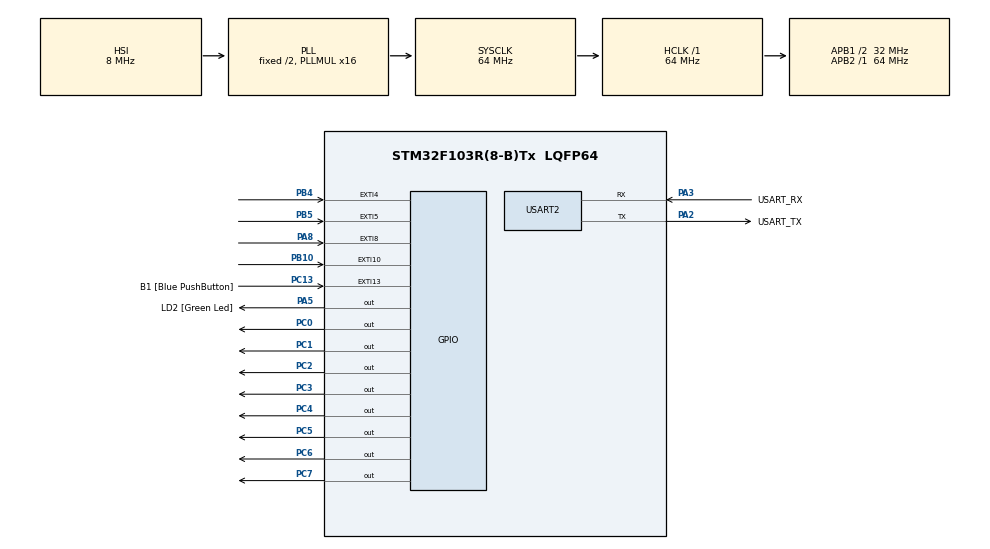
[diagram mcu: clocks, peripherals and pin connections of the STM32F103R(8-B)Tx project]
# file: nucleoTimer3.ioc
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Mcu.Family=STM32F1
Mcu.Name=STM32F103R(8-B)Tx
Mcu.Package=LQFP64
NVIC.EXTI15_10_IRQn=true\:0\:0\:false\:false\:true\:true\:true\:true
NVIC.EXTI4_IRQn=true\:0\:0\:false\:false\:true\:true\:true\:true
NVIC.EXTI9_5_IRQn=true\:0\:0\:false\:false\:true\:true\:true\:true
NVIC.PriorityGroup=NVIC_PRIORITYGROUP_4
NVIC.TIM2_IRQn=true\:0\:0\:false\:false\:true\:true\:true\:true
PA13.GPIO_Label=TMS
PA13.Mode=Serial_Wire
PA13.Signal=SYS_JTMS-SWDIO
PA14.GPIO_Label=TCK
PA14.Mode=Serial_Wire
PA14.Signal=SYS_JTCK-SWCLK
PA2.GPIO_Label=USART_TX
PA2.GPIO_Mode=GPIO_MODE_AF_PP
PA2.GPIO_PuPd=GPIO_NOPULL
PA2.GPIO_Speed=GPIO_SPEED_FREQ_LOW
PA2.Mode=Asynchronous
PA2.Signal=USART2_TX
PA3.GPIO_Label=USART_RX
PA3.GPIO_Mode=GPIO_MODE_AF_PP
PA3.GPIO_PuPd=GPIO_NOPULL
PA3.GPIO_Speed=GPIO_SPEED_FREQ_LOW
PA3.Mode=Asynchronous
PA3.Signal=USART2_RX
PA5.GPIO_Label=LD2 [Green Led]
PA5.GPIO_ModeDefaultOutputPP=GPIO_MODE_OUTPUT_PP
PA5.GPIO_PuPd=GPIO_NOPULL
PA5.GPIO_Speed=GPIO_SPEED_FREQ_LOW
PA5.Signal=GPIO_Output
PA8.Signal=GPXTI8
PB10.Signal=GPXTI10
PB3.GPIO_Label=SWO
PB3.Signal=SYS_JTDO-TRACESWO
PB4.Signal=GPXTI4
PB5.Signal=GPXTI5
PC0.Signal=GPIO_Output
PC1.Signal=GPIO_Output
PC13-TAMPER-RTC.GPIO_Label=B1 [Blue PushButton]
PC13-TAMPER-RTC.GPIO_PuPd=GPIO_NOPULL
PC13-TAMPER-RTC.Signal=GPXTI13
PC14-OSC32_IN.Mode=LSE-External-Oscillator
PC14-OSC32_IN.Signal=RCC_OSC32_IN
PC15-OSC32_OUT.Mode=LSE-External-Oscillator
PC15-OSC32_OUT.Signal=RCC_OSC32_OUT
PC2.Signal=GPIO_Output
PC3.Signal=GPIO_Output
PC4.Signal=GPIO_Output
PC5.Signal=GPIO_Output
PC6.Signal=GPIO_Output
PC7.Signal=GPIO_Output
PD0-OSC_IN.Mode=HSE-External-Clock-Source
PD0-OSC_IN.Signal=RCC_OSC_IN
PD1-OSC_OUT.Mode=HSE-External-Clock-Source
PD1-OSC_OUT.Signal=RCC_OSC_OUT
ProjectManager.HeapSize=0x200
ProjectManager.StackSize=0x400
ProjectManager.TargetToolchain=STM32CubeIDE
RCC.AHBFreq_Value=64000000
RCC.APB1CLKDivider=RCC_HCLK_DIV2
RCC.APB1Freq_Value=32000000
RCC.APB1TimFreq_Value=64000000
RCC.APB2Freq_Value=64000000
RCC.APB2TimFreq_Value=64000000
RCC.HCLKFreq_Value=64000000
RCC.PLLMUL=RCC_PLL_MUL16
RCC.RTCClockSelection=RCC_RTCCLKSOURCE_LSE
RCC.SYSCLKFreq_VALUE=64000000
RCC.SYSCLKSource=RCC_SYSCLKSOURCE_PLLCLK
RCC.USBFreq_Value=64000000
TIM2.Channel-Output\ Compare1\ No\ Output=TIM_CHANNEL_1
TIM2.Channel-Output\ Compare2\ No\ Output=TIM_CHANNEL_2
TIM2.Period=9999
TIM2.Prescaler=6399
USART2.VirtualMode=VM_ASYNC
VP_TIM2_VS_ClockSourceINT.Mode=Internal
VP_TIM2_VS_no_output1.Mode=Output Compare1 No Output
VP_TIM2_VS_no_output2.Mode=Output Compare2 No Output
board=NUCLEO-F103RB

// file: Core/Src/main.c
/* USER CODE BEGIN Header */
/**
  ******************************************************************************
  * @file           : main.c
  * @brief          : Main program body
  ******************************************************************************
  * @attention
  *
  * Copyright (c) 2022 STMicroelectronics.
  * All rights reserved.
  *
  * This software is licensed under terms that can be found in the LICENSE file
  * in the root directory of this software component.
  * If no LICENSE file comes with this software, it is provided AS-IS.
  *
  ******************************************************************************
  */
/* USER CODE END Header */
#include "main.h"

 TIM_HandleTypeDef htim2;

UART_HandleTypeDef huart2;

/* USER CODE BEGIN PV */
TIM_ClockConfigTypeDef sClockSourceConfig = {0};
TIM_MasterConfigTypeDef sMasterConfig = {0};
TIM_OC_InitTypeDef sConfigOC = {0};

/* USER CODE END PV */

void SystemClock_Config(void);
static void MX_GPIO_Init(void);
static void MX_USART2_UART_Init(void);
static void MX_TIM2_Init(void);

/* USER CODE BEGIN 0 */
void HAL_TIM_PeriodElapsedCallback(TIM_HandleTypeDef *htim)
{
	HAL_GPIO_WritePin(GPIOC, 0xff, GPIO_PIN_SET);
}
void HAL_TIM_OC_DelayElapsedCallback(TIM_HandleTypeDef *htim)
{
	HAL_GPIO_WritePin(GPIOC, 0xff, GPIO_PIN_RESET);
}
void HAL_GPIO_EXTI_Callback(uint16_t GPIO_Pin)
{
	if (GPIO_Pin==GPIO_PIN_8)
	{
		sConfigOC.Pulse = 999;
		HAL_TIM_OC_ConfigChannel(&htim2, &sConfigOC, TIM_CHANNEL_1);
	}
	if (GPIO_Pin==GPIO_PIN_4)
	{
		sConfigOC.Pulse = 2999;
		HAL_TIM_OC_ConfigChannel(&htim2, &sConfigOC, TIM_CHANNEL_1);
	}
	if (GPIO_Pin==GPIO_PIN_5)
	{
		sConfigOC.Pulse = 4999;
		HAL_TIM_OC_ConfigChannel(&htim2, &sConfigOC, TIM_CHANNEL_1);
	}
	if (GPIO_Pin==GPIO_PIN_10)
	{
		sConfigOC.Pulse = 6999;
		HAL_TIM_OC_ConfigChannel(&htim2, &sConfigOC, TIM_CHANNEL_1);
	}
}
/* USER CODE END 0 */

int main(void)
{

  /* MCU Configuration--------------------------------------------------------*/

  /* Reset of all peripherals, Initializes the Flash interface and the Systick. */
  HAL_Init();

  /* Configure the system clock */
  SystemClock_Config();

  /* Initialize all configured peripherals */
  MX_GPIO_Init();
  MX_USART2_UART_Init();
  MX_TIM2_Init();
  /* USER CODE BEGIN 2 */
  HAL_TIM_Base_Start_IT(&htim2);
  HAL_TIM_OC_Start_IT(&htim2, TIM_CHANNEL_1);
  /* USER CODE END 2 */

  /* Infinite loop */
  while (1)
  {

  }
}

void SystemClock_Config(void)
{
  RCC_OscInitTypeDef RCC_OscInitStruct = {0};
  RCC_ClkInitTypeDef RCC_ClkInitStruct = {0};

  /** Initializes the RCC Oscillators according to the specified parameters
  * in the RCC_OscInitTypeDef structure.
  */
  RCC_OscInitStruct.OscillatorType = RCC_OSCILLATORTYPE_HSI;
  RCC_OscInitStruct.HSIState = RCC_HSI_ON;
  RCC_OscInitStruct.HSICalibrationValue = RCC_HSICALIBRATION_DEFAULT;
  RCC_OscInitStruct.PLL.PLLState = RCC_PLL_ON;
  RCC_OscInitStruct.PLL.PLLSource = RCC_PLLSOURCE_HSI_DIV2;
  RCC_OscInitStruct.PLL.PLLMUL = RCC_PLL_MUL16;
  if (HAL_RCC_OscConfig(&RCC_OscInitStruct) != HAL_OK)
  {
    Error_Handler();
  }

  /** Initializes the CPU, AHB and APB buses clocks
  */
  RCC_ClkInitStruct.ClockType = RCC_CLOCKTYPE_HCLK|RCC_CLOCKTYPE_SYSCLK
                              |RCC_CLOCKTYPE_PCLK1|RCC_CLOCKTYPE_PCLK2;
  RCC_ClkInitStruct.SYSCLKSource = RCC_SYSCLKSOURCE_PLLCLK;
  RCC_ClkInitStruct.AHBCLKDivider = RCC_SYSCLK_DIV1;
  RCC_ClkInitStruct.APB1CLKDivider = RCC_HCLK_DIV2;
  RCC_ClkInitStruct.APB2CLKDivider = RCC_HCLK_DIV1;

  if (HAL_RCC_ClockConfig(&RCC_ClkInitStruct, FLASH_LATENCY_2) != HAL_OK)
  {
    Error_Handler();
  }
}

static void MX_TIM2_Init(void)
{

  TIM_ClockConfigTypeDef sClockSourceConfig = {0};
  TIM_MasterConfigTypeDef sMasterConfig = {0};
  TIM_OC_InitTypeDef sConfigOC = {0};

  htim2.Instance = TIM2;
  htim2.Init.Prescaler = 63;
  htim2.Init.CounterMode = TIM_COUNTERMODE_UP;
  htim2.Init.Period = 9999;
  htim2.Init.ClockDivision = TIM_CLOCKDIVISION_DIV1;
  htim2.Init.AutoReloadPreload = TIM_AUTORELOAD_PRELOAD_DISABLE;
  if (HAL_TIM_Base_Init(&htim2) != HAL_OK)
  {
    Error_Handler();
  }
  sClockSourceConfig.ClockSource = TIM_CLOCKSOURCE_INTERNAL;
  if (HAL_TIM_ConfigClockSource(&htim2, &sClockSourceConfig) != HAL_OK)
  {
    Error_Handler();
  }
  if (HAL_TIM_OC_Init(&htim2) != HAL_OK)
  {
    Error_Handler();
  }
  sMasterConfig.MasterOutputTrigger = TIM_TRGO_RESET;
  sMasterConfig.MasterSlaveMode = TIM_MASTERSLAVEMODE_DISABLE;
  if (HAL_TIMEx_MasterConfigSynchronization(&htim2, &sMasterConfig) != HAL_OK)
  {
    Error_Handler();
  }
  sConfigOC.OCMode = TIM_OCMODE_TIMING;
  sConfigOC.Pulse = 0;
  sConfigOC.OCPolarity = TIM_OCPOLARITY_HIGH;
  sConfigOC.OCFastMode = TIM_OCFAST_DISABLE;
  if (HAL_TIM_OC_ConfigChannel(&htim2, &sConfigOC, TIM_CHANNEL_1) != HAL_OK)
  {
    Error_Handler();
  }
  if (HAL_TIM_OC_ConfigChannel(&htim2, &sConfigOC, TIM_CHANNEL_2) != HAL_OK)
  {
    Error_Handler();
  }

}

static void MX_USART2_UART_Init(void)
{

  huart2.Instance = USART2;
  huart2.Init.BaudRate = 115200;
  huart2.Init.WordLength = UART_WORDLENGTH_8B;
  huart2.Init.StopBits = UART_STOPBITS_1;
  huart2.Init.Parity = UART_PARITY_NONE;
  huart2.Init.Mode = UART_MODE_TX_RX;
  huart2.Init.HwFlowCtl = UART_HWCONTROL_NONE;
  huart2.Init.OverSampling = UART_OVERSAMPLING_16;
  if (HAL_UART_Init(&huart2) != HAL_OK)
  {
    Error_Handler();
  }

}

static void MX_GPIO_Init(void)
{
  GPIO_InitTypeDef GPIO_InitStruct = {0};

  /* GPIO Ports Clock Enable */
  __HAL_RCC_GPIOC_CLK_ENABLE();
  __HAL_RCC_GPIOD_CLK_ENABLE();
  __HAL_RCC_GPIOA_CLK_ENABLE();
  __HAL_RCC_GPIOB_CLK_ENABLE();

  /*Configure GPIO pin Output Level */
  HAL_GPIO_WritePin(GPIOC, GPIO_PIN_0|GPIO_PIN_1|GPIO_PIN_2|GPIO_PIN_3
                          |GPIO_PIN_4|GPIO_PIN_5|GPIO_PIN_6|GPIO_PIN_7, GPIO_PIN_RESET);

  /*Configure GPIO pin Output Level */
  HAL_GPIO_WritePin(LD2_GPIO_Port, LD2_Pin, GPIO_PIN_RESET);

  /*Configure GPIO pin : B1_Pin */
  GPIO_InitStruct.Pin = B1_Pin;
  GPIO_InitStruct.Mode = GPIO_MODE_IT_RISING;
  GPIO_InitStruct.Pull = GPIO_NOPULL;
  HAL_GPIO_Init(B1_GPIO_Port, &GPIO_InitStruct);

  /*Configure GPIO pins : PC0 PC1 PC2 PC3
                           PC4 PC5 PC6 PC7 */
  GPIO_InitStruct.Pin = GPIO_PIN_0|GPIO_PIN_1|GPIO_PIN_2|GPIO_PIN_3
                          |GPIO_PIN_4|GPIO_PIN_5|GPIO_PIN_6|GPIO_PIN_7;
  GPIO_InitStruct.Mode = GPIO_MODE_OUTPUT_PP;
  GPIO_InitStruct.Pull = GPIO_NOPULL;
  GPIO_InitStruct.Speed = GPIO_SPEED_FREQ_LOW;
  HAL_GPIO_Init(GPIOC, &GPIO_InitStruct);

  /*Configure GPIO pin : LD2_Pin */
  GPIO_InitStruct.Pin = LD2_Pin;
  GPIO_InitStruct.Mode = GPIO_MODE_OUTPUT_PP;
  GPIO_InitStruct.Pull = GPIO_NOPULL;
  GPIO_InitStruct.Speed = GPIO_SPEED_FREQ_LOW;
  HAL_GPIO_Init(LD2_GPIO_Port, &GPIO_InitStruct);

  /*Configure GPIO pins : PB10 PB4 PB5 */
  GPIO_InitStruct.Pin = GPIO_PIN_10|GPIO_PIN_4|GPIO_PIN_5;
  GPIO_InitStruct.Mode = GPIO_MODE_IT_RISING;
  GPIO_InitStruct.Pull = GPIO_NOPULL;
  HAL_GPIO_Init(GPIOB, &GPIO_InitStruct);

  /*Configure GPIO pin : PA8 */
  GPIO_InitStruct.Pin = GPIO_PIN_8;
  GPIO_InitStruct.Mode = GPIO_MODE_IT_RISING;
  GPIO_InitStruct.Pull = GPIO_NOPULL;
  HAL_GPIO_Init(GPIOA, &GPIO_InitStruct);

  /* EXTI interrupt init*/
  HAL_NVIC_SetPriority(EXTI4_IRQn, 0, 0);
  HAL_NVIC_EnableIRQ(EXTI4_IRQn);

  HAL_NVIC_SetPriority(EXTI9_5_IRQn, 0, 0);
  HAL_NVIC_EnableIRQ(EXTI9_5_IRQn);

  HAL_NVIC_SetPriority(EXTI15_10_IRQn, 0, 0);
  HAL_NVIC_EnableIRQ(EXTI15_10_IRQn);

}

void Error_Handler(void)
{
  __disable_irq();
  while (1)
  {
  }
}
